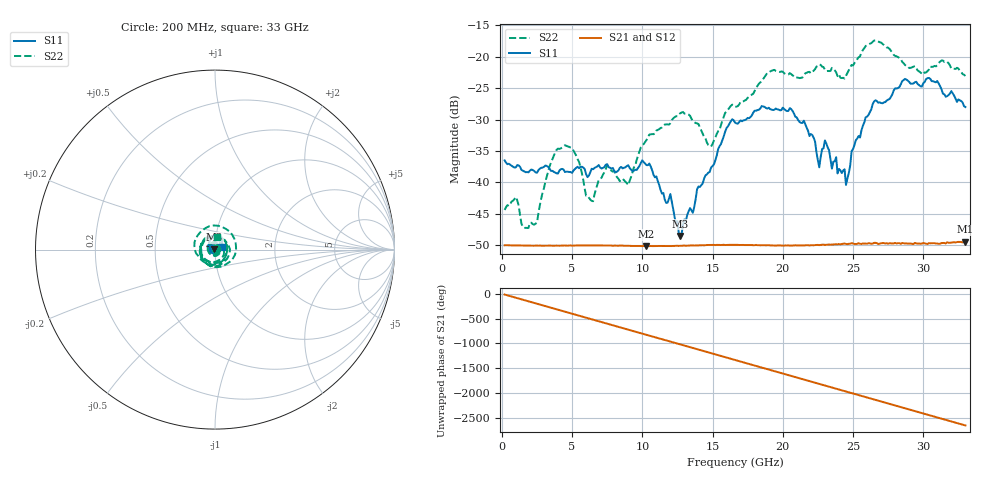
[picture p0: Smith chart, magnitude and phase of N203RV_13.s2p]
# GHZ S RI R 50
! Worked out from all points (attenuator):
!   329 points, 200 MHz to 33 GHz, reference 50 ohm
!   highest |S21| = -49.43 dB at 33 GHz (marker M1); lowest = -50.1 dB at 10.3 GHz (marker M2)
!   lowest |S11| = -48.5 dB at 12.7 GHz (marker M3), VSWR 1.01, Z = 49.7 + j0.158 ohm
!   |S11| at or under -10 dB: start of sweep to end of sweep
!   |S22| runs from -47.2 to -17.4 dB; largest |S21 - S12| = 7.2e-05
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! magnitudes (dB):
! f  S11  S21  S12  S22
! 200 MHz  -36.5  -50.0  -50.0  -44.4
! 2.5 GHz  -38.5  -50.0  -50.0  -46.4
! 3.4 GHz  -37.8  -50.0  -50.0  -37.4
! 4.5 GHz  -38.3  -50.0  -50.0  -34.1
! 5.7 GHz  -37.5  -50.0  -50.0  -38.5
! 6.5 GHz  -37.9  -50.0  -50.0  -43.0
! 7.5 GHz  -37.1  -50.0  -50.0  -37.2
! 9 GHz  -37.3  -50.1  -50.1  -40.4
! 10.3 GHz  -37.2  -50.1  -50.1  -33.2
! 11.2 GHz  -40.4  -50.1  -50.1  -31.5
! 12.7 GHz  -48.5  -50.1  -50.1  -29.0
! 14.9 GHz  -37.6  -49.9  -49.9  -34.3
! 16.6 GHz  -30.5  -49.9  -49.9  -28.0
! 20.5 GHz  -28.2  -50.0  -50.0  -22.6
! 22.1 GHz  -32.5  -50.0  -49.9  -22.5
! 22.6 GHz  -37.6  -50.0  -49.9  -21.2
! 23 GHz  -33.3  -49.9  -49.9  -22.1
! 24.5 GHz  -40.4  -49.8  -49.7  -23.0
! 25.9 GHz  -29.6  -49.7  -49.8  -18.3
! 27.6 GHz  -26.7  -49.6  -49.7  -18.8
! 30.4 GHz  -23.4  -49.7  -49.7  -22.0
! 33 GHz  -28.0  -49.4  -49.4  -23.1
